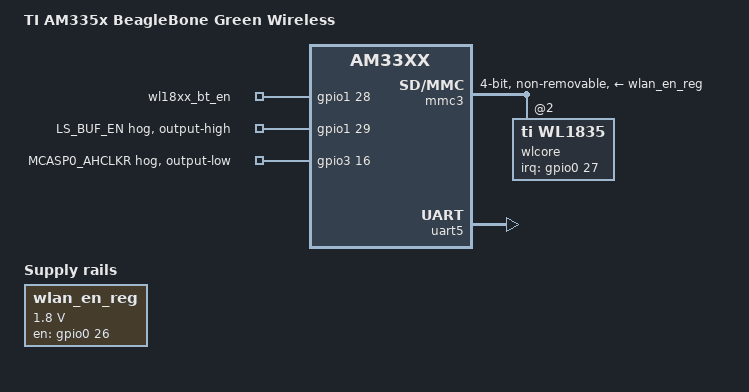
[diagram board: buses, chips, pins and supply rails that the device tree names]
/*
 * Copyright (C) 2012 Texas Instruments Incorporated - http://www.ti.com/
 *
 * This program is free software; you can redistribute it and/or modify
 * it under the terms of the GNU General Public License version 2 as
 * published by the Free Software Foundation.
 */

/dts-v1/;
/plugin/;

#include <dt-bindings/gpio/gpio.h>
#include <dt-bindings/pinctrl/am33xx.h>
#include <dt-bindings/interrupt-controller/irq.h>

/ {
	/*
	 * Free up the pins used by the cape from the pinmux helpers.
	 */
	fragment@0 {
		target = <&ocp>;
		__overlay__ {
			P9_12_pinmux { status = "disabled"; };	/* gpmc_ad12.gpio1_28 BT_EN */
			P8_12_pinmux { status = "disabled"; };	/* gpmc_ad12.mmc2_dat0 */
			P8_11_pinmux { status = "disabled"; };	/* gpmc_ad13.mmc2_dat1 */
			P8_16_pinmux { status = "disabled"; };	/* gpmc_ad14.mmc2_dat2 */
			P8_15_pinmux { status = "disabled"; };	/* gpmc_ad15.mmc2_dat3 */

			P8_18_pinmux { status = "disabled"; };	/* gpmc_clk.mmc2_clk */

			//Audio...
			P9_28_pinmux { status = "disabled"; };
			P9_29_pinmux { status = "disabled"; };
			P9_31_pinmux { status = "disabled"; };
		};
	};

	fragment@1 {
		target = <&am33xx_pinmux>;
		__overlay__ {
			wl18xx_pins: pinmux_wl18xx_pins {
				pinctrl-single,pins = <
					AM33XX_IOPAD(0x878, PIN_OUTPUT_PULLUP | MUX_MODE7)	/* gpmc_ad12.gpio1_28 BT_EN */
				>;
			};

			mmc3_pins: pinmux_mmc3_pins {
				pinctrl-single,pins = <
					AM33XX_IOPAD(0x830, PIN_INPUT_PULLUP | MUX_MODE3)	/* gpmc_ad12.mmc2_dat0 */
					AM33XX_IOPAD(0x834, PIN_INPUT_PULLUP | MUX_MODE3)	/* gpmc_ad13.mmc2_dat1 */
					AM33XX_IOPAD(0x838, PIN_INPUT_PULLUP | MUX_MODE3)	/* gpmc_ad14.mmc2_dat2 */
					AM33XX_IOPAD(0x83c, PIN_INPUT_PULLUP | MUX_MODE3)	/* gpmc_ad15.mmc2_dat3 */
					AM33XX_IOPAD(0x888, PIN_INPUT_PULLUP | MUX_MODE3)	/* gpmc_csn3.mmc2_cmd */
					AM33XX_IOPAD(0x88c, PIN_INPUT_PULLUP | MUX_MODE3)	/* gpmc_clk.mmc2_clk */
				>;
			};

			mmc3_pins_sleep: pinmux_mmc3_pins_sleep {
				pinctrl-single,pins = <
					AM33XX_IOPAD(0x830, PIN_INPUT_PULLDOWN | MUX_MODE3)	/* gpmc_ad12.mmc2_dat0 */
					AM33XX_IOPAD(0x834, PIN_INPUT_PULLDOWN | MUX_MODE3)	/* gpmc_ad13.mmc2_dat1 */
					AM33XX_IOPAD(0x838, PIN_INPUT_PULLDOWN | MUX_MODE3)	/* gpmc_ad14.mmc2_dat2 */
					AM33XX_IOPAD(0x83c, PIN_INPUT_PULLDOWN | MUX_MODE3)	/* gpmc_ad15.mmc2_dat3 */
					AM33XX_IOPAD(0x888, PIN_INPUT_PULLDOWN | MUX_MODE3)	/* gpmc_csn3.mmc2_cmd */
					AM33XX_IOPAD(0x88c, PIN_INPUT_PULLDOWN | MUX_MODE3)	/* gpmc_clk.mmc2_clk */
				>;
			};

			/* wl18xx card enable/irq GPIOs. */
			wlan_pins: pinmux_wlan_pins {
				pinctrl-single,pins = <
					AM33XX_IOPAD(0x828, PIN_OUTPUT_PULLDOWN | MUX_MODE7)	/* gpmc_ad10.gpio0_26 WL_EN */
					AM33XX_IOPAD(0x82C, PIN_INPUT_PULLDOWN | MUX_MODE7)	/* gpmc_ad11.gpio0_27 WL_IRQ */
				>;
			};

			/* wl18xx card enable/irq GPIOs. */
			wlan_pins_sleep: pinmux_wlan_pins_sleep {
				pinctrl-single,pins = <
					AM33XX_IOPAD(0x828, PIN_OUTPUT_PULLDOWN | MUX_MODE7)	/* gpmc_ad10.gpio0_26 WL_EN */
					AM33XX_IOPAD(0x82C, PIN_INPUT_PULLDOWN | MUX_MODE7)	/* gpmc_ad11.gpio0_27 WL_IRQ */
				>;
			};

			uart5_pins_default: pinmux_uart5_pins_default {
				pinctrl-single,pins = <
					AM33XX_IOPAD(0x908, PIN_INPUT_PULLUP | MUX_MODE3)	/* (H16) gmii1_col.uart5_rxd */
					AM33XX_IOPAD(0x944, PIN_OUTPUT_PULLDOWN | MUX_MODE3)	/* (H18) gmii1_reclk.uart5_txd */
					AM33XX_IOPAD(0x90C, PIN_INPUT | MUX_MODE5)		/* (H17) gmii1_crs.uart5_ctsn */
					AM33XX_IOPAD(0x910, PIN_OUTPUT_PULLDOWN | MUX_MODE5)	/* (J15) gmii1_rxerr.uart5_rtsn */
				>;
			};

			uart5_pins_sleep: pinmux_uart5_pins_sleep {
				pinctrl-single,pins = <
					AM33XX_IOPAD(0x908, PIN_INPUT_PULLDOWN | MUX_MODE7)	/* (H16) gmii1_col.uart5_rxd */
					AM33XX_IOPAD(0x944, PIN_INPUT_PULLDOWN | MUX_MODE7)	/* (H18) gmii1_reclk.uart5_txd */
					AM33XX_IOPAD(0x90C, PIN_INPUT_PULLDOWN | MUX_MODE7)	/* (H17) gmii1_crs.uart5_ctsn */
					AM33XX_IOPAD(0x910, PIN_INPUT_PULLDOWN | MUX_MODE7)	/* (J15) gmii1_rxerr.uart5_rtsn */
				>;
			};
		};
	};

	fragment@2 {
		target-path="/";
		__overlay__ {
			model = "TI AM335x BeagleBone Green Wireless";
			compatible = "ti,am335x-bone-green-wireless", "ti,am335x-bone-green", "ti,am335x-bone-black", "ti,am335x-bone", "ti,am33xx";

			wlan_en_reg: fixedregulator@2 {
				compatible = "regulator-fixed";
				regulator-name = "wlan-en-regulator";
				regulator-min-microvolt = <1800000>;
				regulator-max-microvolt = <1800000>;
				startup-delay-us= <70000>;

				/* WL_EN */
				gpio = <&gpio0 26 0>;
				enable-active-high;
			};

			leds {
				pinctrl-names = "default";
				pinctrl-0 = <&wl18xx_pins>;
				compatible = "gpio-leds";

				wl18xx_bt_en {
					label = "wl18xx_bt_en";
					gpios = <&gpio1 28 GPIO_ACTIVE_HIGH>;
					default-state = "off";
				};
			};
		};
	};

	fragment@4 {
		target = <&mmc3>;
		__overlay__ {
			dmas = <&edma_xbar 12 0 1
				&edma_xbar 13 0 2>;
			dma-names = "tx", "rx";
			status = "okay";
			vmmc-supply = <&wlan_en_reg>;
			bus-width = <4>;
			non-removable;
			cap-power-off-card;
			ti,needs-special-hs-handling;
			keep-power-in-suspend;
			pinctrl-names = "default", "sleep";
			pinctrl-0 = <&mmc3_pins &wlan_pins>;
			pinctrl-1 = <&mmc3_pins_sleep &wlan_pins_sleep>;

			#address-cells = <1>;
			#size-cells = <0>;
			wlcore: wlcore@2 {
				compatible = "ti,wl1835";
				reg = <2>;
				interrupt-parent = <&gpio0>;
				interrupts = <27 IRQ_TYPE_EDGE_RISING>;
			};
		};
	};

	fragment@5 {
		target = <&uart5>;
		__overlay__ {
			pinctrl-names = "default", "sleep";
			pinctrl-0 = <&uart5_pins_default>;
			pinctrl-1 = <&uart5_pins_sleep>;
			status = "okay";
		};
	};

	fragment@6 {
		target = <&gpio1>;
		__overlay__ {
			ls_buf_en {
				gpio-hog;
				gpios = <29 GPIO_ACTIVE_HIGH>;
				output-high;
				line-name = "LS_BUF_EN";
			};
		};
	};

/* BT_AUD_OUT from wl1835 has to be pulled low when WL_EN is activated.*/
/* in case it isn't, wilink8 ends up in one of the test modes that     */
/* intruces various issues (elp wkaeup timeouts etc.)                  */
/* On the BBGW this pin is routed through the level shifter (U21) that */
/* introduces a pullup on the line and wilink8 ends up in a bad state. */
/* use a gpio hog to force this pin low. An alternative may be adding  */
/* an external pulldown on U21 pin 4.                                  */

	fragment@7 {
		target = <&gpio3>;
		__overlay__ {
			bt_aud_in {
				gpio-hog;
				gpios = <16 GPIO_ACTIVE_HIGH>;
				output-low;
				line-name = "MCASP0_AHCLKR";
			};
		};
	};
};
